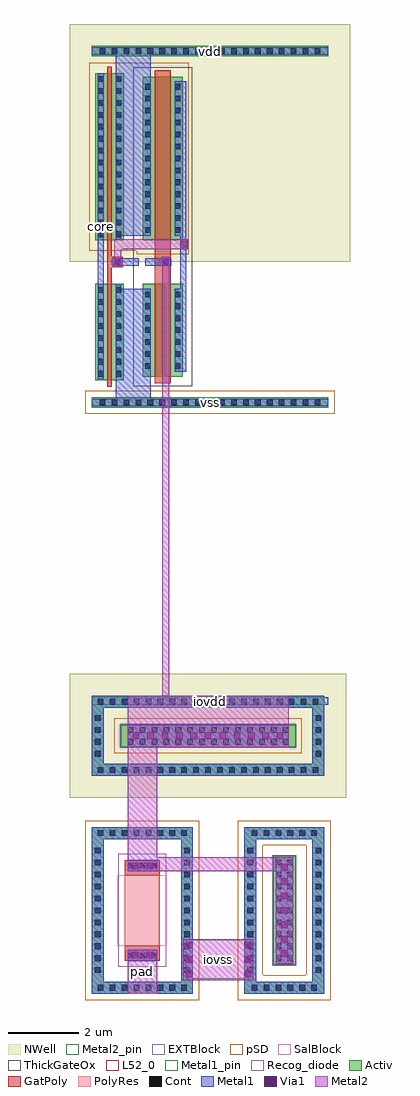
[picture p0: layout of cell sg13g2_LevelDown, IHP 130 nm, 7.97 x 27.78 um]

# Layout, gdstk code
import gdstk
lib = gdstk.Library(unit=1e-6, precision=1e-09)
def R(c, l, rs):  # rectangles x0, y0, x1, y1
    for r in rs: c.add(gdstk.rectangle(r[:2], r[2:], *l))
def A(c, l, x, y, w, h, nx, ny, dx, dy):  # array of equal rectangles
    R(c, l, [(x+i*dx, y+j*dy, x+i*dx+w, y+j*dy+h) for i in range(nx) for j in range(ny)])
def P(c, l, *ps):  # polygons
    for p in ps: c.add(gdstk.Polygon(p, *l))
Activ = (1, 0)
GatPoly = (5, 0)
Cont = (6, 0)
Metal1 = (8, 0)
Metal1_pin = (8, 2)
Metal2 = (10, 0)
Metal2_pin = (10, 2)
pSD = (14, 0)
Via1 = (19, 0)
SalBlock = (28, 0)
NWell = (31, 0)
ThickGateOx = (44, 0)
L52_0 = (52, 0)
Recog_diode = (99, 31)
EXTBlock = (111, 0)
PolyRes = (128, 0)

sg13g2_guardring_p576w94 = lib.new_cell('sg13g2_GuardRing_P576W948HFF')
P(sg13g2_guardring_p576w94, Activ, [(-1.44,-2.37),(-1.44,2.03),(-1.1,2.03),(-1.1,-2.03),(1.1,-2.03),(1.1,2.03),(-1.44,2.03),(-1.44,2.37),(1.44,2.37),(1.44,-2.37)])
A(sg13g2_guardring_p576w94, Cont, -1.27, -2.28, 0.16, 0.16, 8, 2, 0.34, 4.4)
A(sg13g2_guardring_p576w94, Cont, -1.35, -1.78, 0.16, 0.16, 1, 11, 0, 0.34)
A(sg13g2_guardring_p576w94, Cont, 1.19, -1.78, 0.16, 0.16, 1, 11, 0, 0.34)
P(sg13g2_guardring_p576w94, Metal1, [(-1.44,-2.37),(-1.44,2.03),(-1.1,2.03),(-1.1,-2.03),(1.1,-2.03),(1.1,2.03),(-1.44,2.03),(-1.44,2.37),(1.44,2.37),(1.44,-2.37)])
P(sg13g2_guardring_p576w94, pSD, [(-1.62,-2.55),(-1.62,1.85),(-0.92,1.85),(-0.92,-1.85),(0.92,-1.85),(0.92,1.85),(-1.62,1.85),(-1.62,2.55),(1.62,2.55),(1.62,-2.55)])
sg13g2_guardring_p576w94.add(gdstk.Label('sub!', (-1.27,-2.2), layer=63, texttype=0))

sg13g2_guardring_p456w94 = lib.new_cell('sg13g2_GuardRing_P456W948HFF')
P(sg13g2_guardring_p456w94, Activ, [(-1.14,-2.37),(-1.14,2.03),(-0.8,2.03),(-0.8,-2.03),(0.8,-2.03),(0.8,2.03),(-1.14,2.03),(-1.14,2.37),(1.14,2.37),(1.14,-2.37)])
A(sg13g2_guardring_p456w94, Cont, -0.93, -2.28, 0.16, 0.16, 6, 2, 0.34, 4.4)
A(sg13g2_guardring_p456w94, Cont, -1.05, -1.78, 0.16, 0.16, 1, 11, 0, 0.34)
A(sg13g2_guardring_p456w94, Cont, 0.89, -1.78, 0.16, 0.16, 1, 11, 0, 0.34)
P(sg13g2_guardring_p456w94, Metal1, [(-1.14,-2.37),(-1.14,2.03),(-0.8,2.03),(-0.8,-2.03),(0.8,-2.03),(0.8,2.03),(-1.14,2.03),(-1.14,2.37),(1.14,2.37),(1.14,-2.37)])
P(sg13g2_guardring_p456w94, pSD, [(-1.32,-2.55),(-1.32,1.85),(-0.62,1.85),(-0.62,-1.85),(0.62,-1.85),(0.62,1.85),(-1.32,1.85),(-1.32,2.55),(1.32,2.55),(1.32,-2.55)])
sg13g2_guardring_p456w94.add(gdstk.Label('sub!', (-0.97,-2.2), layer=63, texttype=0))

sg13g2_guardring_n1324w4 = lib.new_cell('sg13g2_GuardRing_N1324W456HTF')
P(sg13g2_guardring_n1324w4, Activ, [(-3.31,-1.14),(-3.31,0.8),(-2.97,0.8),(-2.97,-0.8),(2.97,-0.8),(2.97,0.8),(-3.31,0.8),(-3.31,1.14),(3.31,1.14),(3.31,-1.14)])
A(sg13g2_guardring_n1324w4, Cont, -3.14, -1.05, 0.16, 0.16, 19, 2, 0.34, 1.94)
A(sg13g2_guardring_n1324w4, Cont, -3.22, -0.59, 0.16, 0.16, 1, 4, 0, 0.34)
A(sg13g2_guardring_n1324w4, Cont, 3.06, -0.59, 0.16, 0.16, 1, 4, 0, 0.34)
P(sg13g2_guardring_n1324w4, Metal1, [(-3.31,-1.14),(-3.31,0.8),(-2.97,0.8),(-2.97,-0.8),(2.97,-0.8),(2.97,0.8),(-3.31,0.8),(-3.31,1.14),(3.31,1.14),(3.31,-1.14)])
R(sg13g2_guardring_n1324w4, NWell, [(-3.93,-1.76,3.93,1.76)])

sg13g2_secondaryprotecti = lib.new_cell('sg13g2_SecondaryProtection')
R(sg13g2_secondaryprotecti, Activ, [(5.16,0.82,5.8,3.92), (0.82,7.02,5.8,7.66)])
R(sg13g2_secondaryprotecti, GatPoly, [(0.94,0.94,1.94,1.37), (0.94,3.37,1.94,3.8)])
A(sg13g2_secondaryprotecti, Cont, 5.23, 0.93, 0.16, 0.16, 1, 9, 0, 0.34)
A(sg13g2_secondaryprotecti, Cont, 5.57, 0.93, 0.16, 0.16, 1, 9, 0, 0.34)
A(sg13g2_secondaryprotecti, Cont, 1.02, 1.01, 0.16, 0.16, 3, 2, 0.34, 2.56)
A(sg13g2_secondaryprotecti, Cont, 1.02, 7.09, 0.16, 0.16, 14, 2, 0.34, 0.34)
R(sg13g2_secondaryprotecti, Metal1, [(2.67,0.42,2.88,1.53), (4.34,0.42,4.55,1.53), (5.23,0.85,5.73,3.89), (1.02,0.93,1.86,1.25), (1.02,3.49,1.86,3.81), (1.02,7.01,5.6,7.67)])
R(sg13g2_secondaryprotecti, Metal2, [(1.02,0,1.86,1.25), (2.605,0.385,4.59,1.545)])
P(sg13g2_secondaryprotecti, Metal2, [(5.23,0.85),(5.23,3.49),(1.02,3.49),(1.02,8.48),(5.6,8.48),(5.6,7.01),(1.86,7.01),(1.86,3.89),(5.73,3.89),(5.73,0.85)])
R(sg13g2_secondaryprotecti, pSD, [(0,0,2.88,4.74), (0.64,6.84,5.98,7.84)])
A(sg13g2_secondaryprotecti, Via1, 2.68, 0.47, 0.19, 0.19, 1, 3, 0, 0.41)
A(sg13g2_secondaryprotecti, Via1, 4.35, 0.47, 0.19, 0.19, 1, 3, 0, 0.41)
A(sg13g2_secondaryprotecti, Via1, 5.385, 1.045, 0.19, 0.19, 1, 7, 0, 0.41)
A(sg13g2_secondaryprotecti, Via1, 1.165, 7.245, 0.19, 0.19, 11, 1, 0.41, 0)
R(sg13g2_secondaryprotecti, Via1, [(1.14,1.01,1.33,1.2), (1.55,1.01,1.74,1.2), (1.14,3.54,1.33,3.73), (1.55,3.54,1.74,3.73)])
R(sg13g2_secondaryprotecti, SalBlock, [(0.74,1.37,2.14,3.37)])
R(sg13g2_secondaryprotecti, NWell, [(0.2,6.4,6.42,8.28)])
R(sg13g2_secondaryprotecti, L52_0, [(0.94,1.37,1.94,3.37)])
R(sg13g2_secondaryprotecti, Recog_diode, [(5.14,0.8,5.82,3.94), (0.8,7,5.82,7.68)])
R(sg13g2_secondaryprotecti, EXTBlock, [(0.76,0.76,2.12,3.98)])
R(sg13g2_secondaryprotecti, PolyRes, [(0.94,1.37,1.94,3.37)])
sg13g2_secondaryprotecti.add(gdstk.Reference(sg13g2_guardring_p576w94, (1.44,2.37)))
sg13g2_secondaryprotecti.add(gdstk.Reference(sg13g2_guardring_p456w94, (5.48,2.37)))
sg13g2_secondaryprotecti.add(gdstk.Reference(sg13g2_guardring_n1324w4, (3.31,7.34)))
sg13g2_secondaryprotecti.add(gdstk.Label('rppd r=793.834', (1.44,2.37), layer=63, texttype=0))
sg13g2_secondaryprotecti.add(gdstk.Label('dant', (5.48,2.37), layer=63, texttype=0))
sg13g2_secondaryprotecti.add(gdstk.Label('dpant', (3.31,7.34), layer=63, texttype=0))
sg13g2_secondaryprotecti.add(gdstk.Label('IOVSS', (3.332,1.276), layer=63, texttype=0))
sg13g2_secondaryprotecti.add(gdstk.Label('IOVDD', (6.431,6.439), layer=63, texttype=0))
sg13g2_secondaryprotecti.add(gdstk.Label('CORE', (3.464,8.204), layer=10, texttype=1))
sg13g2_secondaryprotecti.add(gdstk.Label('PAD', (1.388,0.609), layer=10, texttype=1))

sg13g2_leveldown = lib.new_cell('sg13g2_LevelDown')
R(sg13g2_leveldown, Activ, [(0,8.35,6.73,8.65), (0.105,9.13,0.915,11.88), (1.455,9.23,2.585,11.88), (0.105,13.12,0.915,17.87), (1.455,13.12,2.585,17.77), (0,18.35,6.73,18.65)])
R(sg13g2_leveldown, GatPoly, [(1.795,9.05,2.245,17.95)])
P(sg13g2_leveldown, GatPoly, [(0.445,8.95),(0.445,18.05),(0.575,18.05),(0.575,12.65),(0.875,12.65),(0.875,12.35),(0.575,12.35),(0.575,8.95)])
A(sg13g2_leveldown, Cont, 0.225, 8.42, 0.16, 0.16, 19, 2, 0.34, 10)
A(sg13g2_leveldown, Cont, 0.175, 9.235, 0.16, 0.16, 1, 8, 0, 0.34)
A(sg13g2_leveldown, Cont, 0.685, 9.235, 0.16, 0.16, 1, 8, 0, 0.34)
A(sg13g2_leveldown, Cont, 1.525, 9.455, 0.16, 0.16, 1, 7, 0, 0.34)
A(sg13g2_leveldown, Cont, 2.355, 9.455, 0.16, 0.16, 1, 7, 0, 0.34)
A(sg13g2_leveldown, Cont, 0.175, 13.205, 0.16, 0.16, 1, 14, 0, 0.34)
A(sg13g2_leveldown, Cont, 0.685, 13.205, 0.16, 0.16, 1, 14, 0, 0.34)
A(sg13g2_leveldown, Cont, 1.525, 13.325, 0.16, 0.16, 1, 13, 0, 0.34)
A(sg13g2_leveldown, Cont, 2.355, 13.325, 0.16, 0.16, 1, 13, 0, 0.34)
R(sg13g2_leveldown, Cont, [(0.645,12.42,0.805,12.58), (2.015,12.42,2.175,12.58)])
R(sg13g2_leveldown, Metal1, [(0,-0.105,6.73,0.105), (0.175,9.155,0.335,17.865), (1.515,12.395,2.255,12.605)])
P(sg13g2_leveldown, Metal1, [(0,8.395),(0,8.605),(0.685,8.605),(0.685,11.855),(0.845,11.855),(0.845,11.735),(1.685,11.735),(1.685,8.605),(6.73,8.605),(6.73,8.395)],
  [(2.355,9.375),(2.355,11.735),(2.515,11.735),(2.515,13.245),(2.355,13.245),(2.355,17.645),(2.695,17.645),(2.695,13.145),(2.725,13.145),(2.725,12.855),(2.695,12.855),(2.695,9.375)],
  [(0.595,12.395),(0.595,12.42),(0.565,12.42),(0.565,12.58),(0.595,12.58),(0.595,12.605),(1.335,12.605),(1.335,12.395)],
  [(0.685,13.125),(0.685,18.395),(0,18.395),(0,18.605),(6.73,18.605),(6.73,18.395),(1.685,18.395),(1.685,13.245),(0.845,13.245),(0.845,13.125)])
R(sg13g2_leveldown, Metal1_pin, [(0,-0.105,6.73,0.105), (0,8.395,6.73,8.605), (0.175,9.155,0.335,17.865), (0,18.395,6.73,18.605)])
R(sg13g2_leveldown, Metal2, [(1.02,-8.33,1.86,-7.08), (2.675,-7.91,4.545,-6.8), (2.01,0.15,2.21,12.645)])
P(sg13g2_leveldown, Metal2, [(0.64,12.355),(0.64,13.145),(2.72,13.145),(2.72,12.855),(0.84,12.855),(0.84,12.355)])
R(sg13g2_leveldown, Metal2_pin, [(1.02,-8.33,1.86,-7.08), (2.675,-7.91,4.545,-6.8)])
R(sg13g2_leveldown, pSD, [(-0.18,8.17,6.91,8.83)])
P(sg13g2_leveldown, pSD, [(1.275,12.72),(1.275,12.82),(-0.075,12.82),(-0.075,18.17),(2.765,18.17),(2.765,12.72)])
R(sg13g2_leveldown, Via1, [(0.645,12.405,0.835,12.595), (2.015,12.405,2.205,12.595), (2.525,12.905,2.715,13.095)])
R(sg13g2_leveldown, NWell, [(-0.62,12.5,7.35,19.27), (-0.515,12.5,1.535,18.49), (0.835,12.5,3.205,18.39)])
R(sg13g2_leveldown, ThickGateOx, [(1.185,8.96,2.855,18.04)])
sg13g2_leveldown.add(gdstk.Reference(sg13g2_secondaryprotecti, (0,-8.33)))
sg13g2_leveldown.add(gdstk.Label('core', (0.255,13.51), layer=8, texttype=25))
sg13g2_leveldown.add(gdstk.Label('vss', (3.365,8.5), layer=8, texttype=25))
sg13g2_leveldown.add(gdstk.Label('vdd', (3.365,18.5), layer=8, texttype=25))
sg13g2_leveldown.add(gdstk.Label('iovdd', (3.365,0), layer=8, texttype=25))
sg13g2_leveldown.add(gdstk.Label('pad', (1.44,-7.705), layer=10, texttype=25))
sg13g2_leveldown.add(gdstk.Label('iovss', (3.61,-7.355), layer=10, texttype=25))

lib.write_gds('sg13g2_LevelDown.gds')
